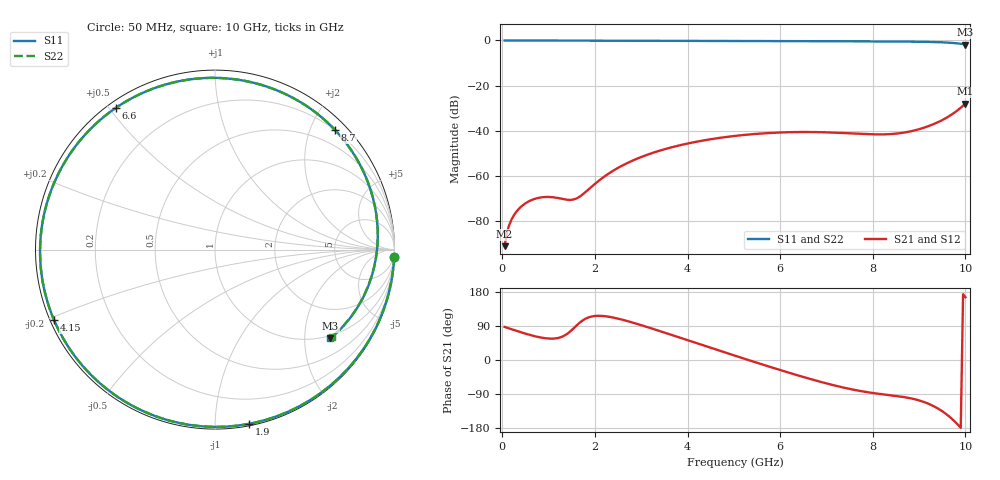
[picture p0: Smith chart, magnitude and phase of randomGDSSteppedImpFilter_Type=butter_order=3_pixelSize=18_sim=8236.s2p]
! freq	dB(S11)	phase(S11)	dB(S12)	phase(S12)
!  dB(S21)	phase(S21)	dB(S22)	phase(S22)
!S-par simulation data
#  GHz  S  DB  R 50
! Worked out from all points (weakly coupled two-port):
!   200 points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, 50 MHz to 10 GHz, reference 50 ohm
!   highest |S21| = -27.94 dB at 10 GHz (marker M1); lowest = -90.9 dB at 50 MHz (marker M2)
!   lowest |S11| = -1.8 dB at 10 GHz (marker M3), VSWR 9.61, Z = 45.8 - j133 ohm
!   |S11| at or under -10 dB: nowhere
!   |S22| runs from -1.8 to 0.0 dB; largest |S21 - S12| = 0
!   S11 on the Smith chart (normalised r, x): 50 MHz: 1, -51; 1.9 GHz: 0.01, -1.21; 4.15 GHz: 0.01, -0.21; 6.6 GHz: 0.02, +0.52; 8.7 GHz: 0.20, +2.40; 10 GHz: 0.92, -2.66
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0.05  -0.01 -2.2  -90.92 87.3  -90.92 87.3  -0.01 -2.2
0.15  -0.01 -6.6  -81.55 83.2  -81.55 83.2  -0.01 -6.6
0.4  -0.02 -17.4  -73.57 73.3  -73.57 73.3  -0.02 -17.4
0.7  -0.04 -30.3  -70.03 62.8  -70.03 62.8  -0.04 -30.3
1  -0.05 -43.0  -69.16 56.6  -69.16 56.6  -0.05 -43.0
1.5  -0.08 -63.4  -70.43 79.0  -70.43 79.0  -0.08 -63.3
1.75  -0.09 -73.2  -67.82 105.6  -67.82 105.6  -0.09 -73.1
1.9  -0.10 -79.0  -65.16 113.9  -65.16 113.9  -0.10 -78.9
2.55  -0.12 -102.9  -55.73 107.7  -55.73 107.7  -0.12 -102.9
3.4  -0.15 -132.1  -48.70 76.4  -48.70 76.4  -0.15 -132.0
4.15  -0.19 -156.3  -44.93 46.3  -44.93 46.3  -0.19 -156.2
5.05  -0.23 175.3  -42.13 10.3  -42.13 10.3  -0.23 175.4
5.8  -0.27 151.5  -40.87 -18.9  -40.87 -18.9  -0.27 151.6
6.6  -0.32 125.0  -40.47 -48.3  -40.47 -48.3  -0.32 125.2
6.7  -0.33 121.6  -40.49 -51.8  -40.49 -51.8  -0.33 121.8
7.55  -0.38 91.3  -41.12 -77.6  -41.12 -77.6  -0.38 91.5
8.35  -0.45 59.9  -41.42 -92.5  -41.42 -92.5  -0.45 60.2
8.7  -0.50 45.0  -40.63 -98.4  -40.63 -98.4  -0.50 45.2
9.15  -0.62 23.6  -38.25 -112.8  -38.25 -112.8  -0.62 23.9
9.5  -0.83 3.8  -35.19 -135.1  -35.19 -135.1  -0.83 4.2
9.8  -1.24 -17.9  -31.36 -165.8  -31.36 -165.8  -1.22 -17.3
10  -1.81 -37.6  -27.94 165.6  -27.94 165.6  -1.79 -36.8
